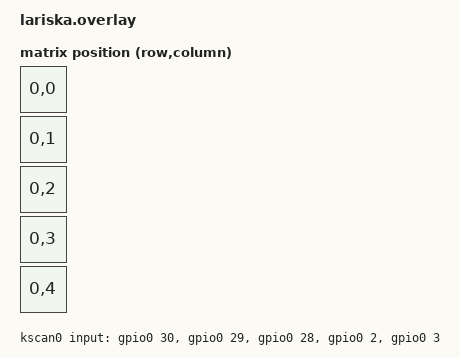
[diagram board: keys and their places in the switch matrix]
#include <dt-bindings/zmk/matrix_transform.h>
#include "mouse_leds.dtsi"

/ {
    chosen {
        zmk,battery = &vbatt;
        zmk,kscan = &kscan0;
        zmk,matrix-transform = &default_transform;
		zmk,backlight = &backlight;
    }; 

    vbatt: vbatt {
        compatible = "zmk,battery-voltage-divider";
        io-channels = <&adc 7>;
        output-ohms = <400000>;
        full-ohms = <(1000000 + 400000)>;
    };

    default_transform: keymap_transform0 {
        compatible = "zmk,matrix-transform";
        columns = <6>;
        rows = <1>;

        map = <
            RC(0,0)
            RC(0,1)
            RC(0,2)
            RC(0,3)
            RC(0,4)
        >;
    };

    kscan0: kscan {
        compatible = "zmk,kscan-gpio-direct";
        wakeup-source;
        input-gpios
            = <&gpio0 30 (GPIO_ACTIVE_LOW | GPIO_PULL_UP)>
            , <&gpio0 29 (GPIO_ACTIVE_LOW | GPIO_PULL_UP)>
            , <&gpio0 28 (GPIO_ACTIVE_LOW | GPIO_PULL_UP)>
            , <&gpio0 2 (GPIO_ACTIVE_LOW | GPIO_PULL_UP)>
            , <&gpio0 3 (GPIO_ACTIVE_LOW | GPIO_PULL_UP)>
            ;
    };

    // encoder: encoder {
    //     compatible = "alps,ec11";
    //     a-gpios = <&gpio0 1 (GPIO_ACTIVE_HIGH)>;
    //     b-gpios = <&gpio0 0 (GPIO_ACTIVE_HIGH)>;
    //     steps = <48>;
    //     status = "okay";
    // };

    sensors: sensors {
        compatible = "zmk,keymap-sensors";
        sensors = <&encoder>;
        triggers-per-rotation = <24>;
    };

};

&pinctrl {
	qdec_default: qdec_default {
		group1 {
			psels = <NRF_PSEL(QDEC_A, 0, 1)>,
			<NRF_PSEL(QDEC_B, 0, 0)>;
			// bias-pull-up;
		};
	};
	
	
	// need second set of pins defined if deep sleep is enabled
	qdec_sleep: qdec_sleep {
		group1 {
			psels = <NRF_PSEL(QDEC_A, 0, 1)>,
			<NRF_PSEL(QDEC_B, 0, 0)>;
			// bias-pull-up; // TODO: find out if this makes sense with low-power-enable
			low-power-enable;
		};
	};
};

// Set up the QDEC hardware based driver and give it the same label as the deleted node.
encoder: &qdec0 {
	status = "okay";
	led-pre = <0>;
	steps = <48>;
	pinctrl-0 = <&qdec_default>;
	pinctrl-1 = <&qdec_sleep>;
	pinctrl-names = "default", "sleep";
};

&pinctrl {
	spi2_default: spi2_default {
		group1 {
			psels = <NRF_PSEL(SPIM_SCK, 0, 6)>,
			<NRF_PSEL(SPIM_MOSI, 0, 5)>,
			<NRF_PSEL(SPIM_MISO, 0, 4)>;
		};
	};
	spi2_sleep: spi2_sleep {
		group1 {
			psels = <NRF_PSEL(SPIM_SCK, 0, 6)>,
			<NRF_PSEL(SPIM_MOSI, 0, 5)>,
			<NRF_PSEL(SPIM_MISO, 0, 4)>;
			low-power-enable;
		};
	};
};

#include <zephyr/dt-bindings/input/input-event-codes.h>

&spi2 {
	compatible = "nordic,nrf-spim";
  status = "okay";
	pinctrl-0 = <&spi2_default>;
	pinctrl-1 = <&spi2_sleep>;
	pinctrl-names = "default", "sleep";
	cs-gpios = <&gpio0 27 GPIO_ACTIVE_LOW>;

	mou0: pd@0 {
		compatible = "pixart,paw3395";
	    status = "okay";
		label = "MOU0";
		reg = <0>;
		spi-max-frequency = <4000000>;

		// paw3395 driver parameters
		irq-gpios = <&gpio0 7 (GPIO_ACTIVE_LOW | GPIO_PULL_UP)>;
		cpi-gpios = <&gpio1 15 (GPIO_ACTIVE_LOW | GPIO_PULL_UP)>;
		cpi = <600 1200 2400 3200>;
		// swap-xy; /* optional */
		invert-x; /* optional */
		// invert-y; /* optional */
		evt-type = <INPUT_EV_REL>;
		x-input-code = <INPUT_REL_X>;
		y-input-code = <INPUT_REL_Y>;
	};
};

/ {
  mouse_input_listener {
    compatible = "zmk,input-listener";
    device = <&mou0>;
  };
};

// /{
// 	dpi_cycle: dpi_cycle {
// 		compatible = "zmk,behavior-sensor-attr-cycle";
// 		#binding-cells = <1>;
// 		values = < 400 800 1200 2400 3200 >;
// 		attr = <0>;
// 		sensor_device = <&mou0>;
// 		display-name = "DPI cycle";
//         load_delay = <200>;
//         save_delay = <1000>;
// 		persistant;
// 	};
// };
